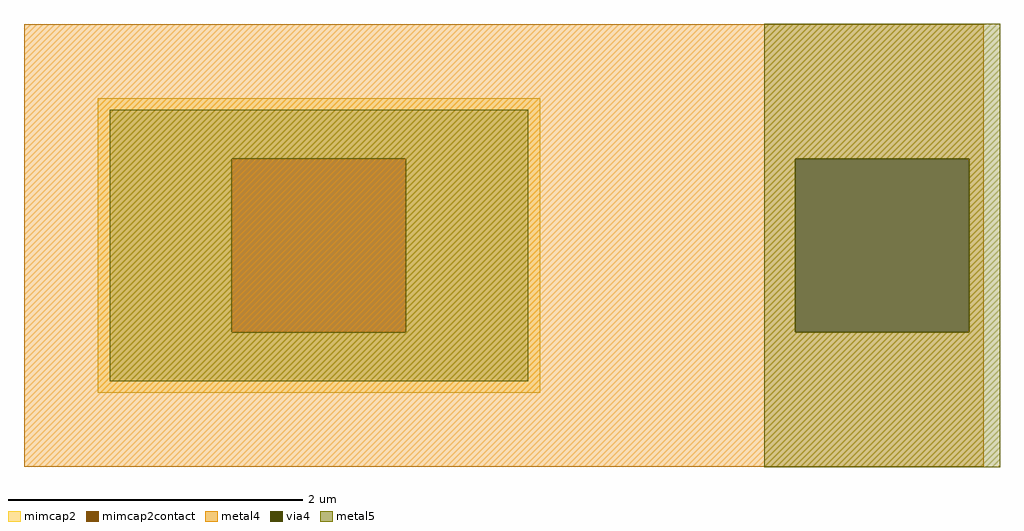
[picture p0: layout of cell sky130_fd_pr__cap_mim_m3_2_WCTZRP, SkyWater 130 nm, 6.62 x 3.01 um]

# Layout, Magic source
magic
tech sky130A
magscale 1 2
<< metal4 >>
rect -651 118 651 300
rect -651 -118 395 118
rect 631 -118 651 118
rect -651 -300 651 -118
<< via4 >>
rect 395 -118 631 118
<< mimcap2 >>
rect -551 118 49 200
rect -551 -118 -369 118
rect -133 -118 49 118
rect -551 -200 49 -118
<< mimcap2contact >>
rect -369 -118 -133 118
<< metal5 >>
rect -535 118 33 184
rect -535 -118 -369 118
rect -133 -118 33 118
rect -535 -184 33 -118
rect 353 118 673 301
rect 353 -118 395 118
rect 631 -118 673 118
rect 353 -301 673 -118
<< properties >>
string FIXED_BBOX -651 -300 149 300
<< end >>
